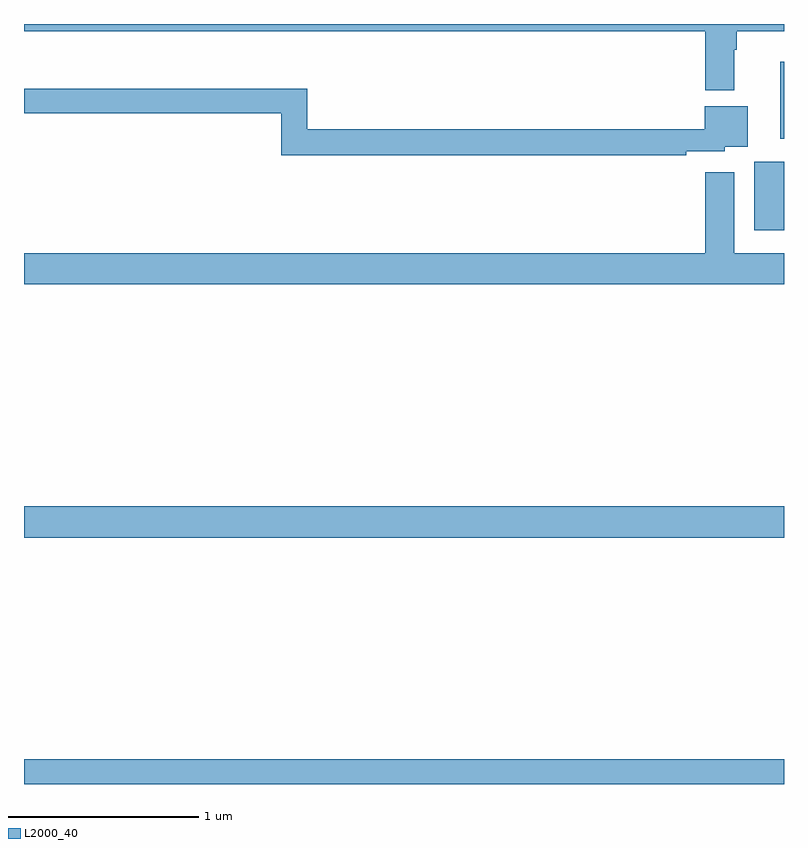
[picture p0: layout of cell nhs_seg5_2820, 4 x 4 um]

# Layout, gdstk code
import gdstk
lib = gdstk.Library(unit=1e-6, precision=1e-09)
def R(c, l, rs):  # rectangles x0, y0, x1, y1
    for r in rs: c.add(gdstk.rectangle(r[:2], r[2:], *l))
def P(c, l, *ps):  # polygons
    for p in ps: c.add(gdstk.Polygon(p, *l))
L2000_40 = (2000, 40)

nhs_seg5_2820 = lib.new_cell('nhs_seg5_2820')
R(nhs_seg5_2820, L2000_40, [(275,852.799,279,852.928), (275,854.096,279,854.26), (278.843,855.714,279,856.075), (278.981,856.194,279,856.6)])
P(nhs_seg5_2820, L2000_40, [(278.737,856.664),(278.75,856.664),(278.75,856.76),(279,856.76),(279,856.799),(275,856.799),(275,856.76),(278.585,856.76),(278.585,856.451),(278.737,856.451)],
  [(278.486,856.128),(278.688,856.128),(278.688,856.154),(278.809,856.154),(278.809,856.366),(278.582,856.366),(278.582,856.244),(276.491,856.244),(276.491,856.459),(275,856.459),(275,856.33),(276.355,856.33),(276.355,856.108),(278.486,856.108)],
  [(279,855.592),(278.737,855.592),(278.737,856.018),(278.585,856.018),(278.585,855.592),(275,855.592),(275,855.428),(279,855.428)])

lib.write_gds('nhs_seg5_2820.gds')
